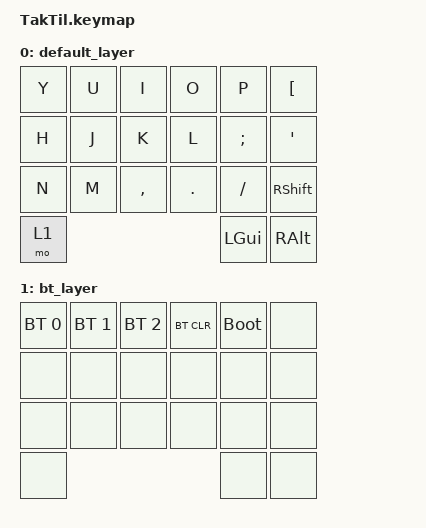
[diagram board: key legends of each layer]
#include <behaviors.dtsi>
#include <dt-bindings/zmk/keys.h>
#include <dt-bindings/zmk/bt.h>

/ {
    keymap {
        compatible = "zmk,keymap";

        default_layer {
            bindings = <
                &kp Y &kp U &kp I     &kp O   &kp P    &kp LBKT
                &kp H &kp J &kp K     &kp L   &kp SEMI &kp SQT
                &kp N &kp M &kp COMMA &kp DOT &kp FSLH &kp RSHFT
                &mo 1                         &kp LGUI &kp RALT
            >;
        };

        bt_layer {
            bindings = <
                &bt BT_SEL 0 &bt BT_SEL 1 &bt BT_SEL 2 &bt BT_CLR &bootloader   &none
                &none        &none        &none        &none      &none         &none
                &none        &none        &none        &none      &none         &none
                &none                                             &none         &none
            >;
        };
    };
};
